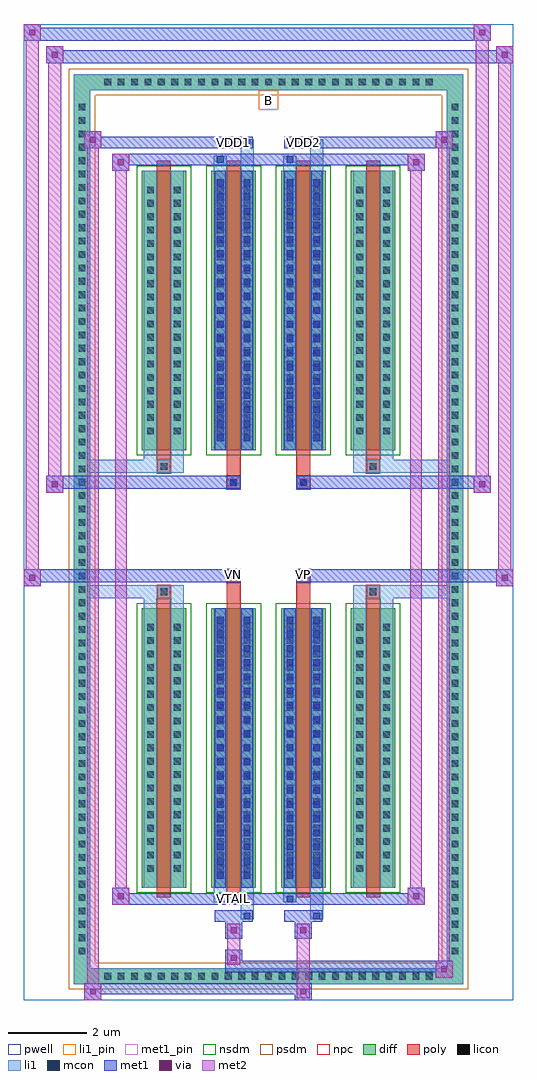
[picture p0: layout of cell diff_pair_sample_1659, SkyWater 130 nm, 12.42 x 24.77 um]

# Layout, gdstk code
import gdstk
lib = gdstk.Library(unit=1e-6, precision=5e-09)
def R(c, l, rs):  # rectangles x0, y0, x1, y1
    for r in rs: c.add(gdstk.rectangle(r[:2], r[2:], *l))
def A(c, l, x, y, w, h, nx, ny, dx, dy):  # array of equal rectangles
    R(c, l, [(x+i*dx, y+j*dy, x+i*dx+w, y+j*dy+h) for i in range(nx) for j in range(ny)])
def P(c, l, *ps):  # polygons
    for p in ps: c.add(gdstk.Polygon(p, *l))
pwell = (64, 44)
diff = (65, 20)
poly = (66, 20)
licon = (66, 44)
li1_pin = (67, 16)
li1 = (67, 20)
mcon = (67, 44)
met1_pin = (68, 16)
met1 = (68, 20)
via = (68, 44)
met2 = (69, 20)
nsdm = (93, 44)
psdm = (94, 20)
npc = (95, 20)

diff_pair_sample_1659 = lib.new_cell('diff_pair_sample_1659')
R(diff_pair_sample_1659, pwell, [(-6.21,-11.95,6.21,12.82), (-3.53,-10.14,-0.01,-0.82), (0.01,-10.14,3.53,-0.82), (-3.53,0.82,-0.01,10.14), (0.01,0.82,3.53,10.14)])
A(diff_pair_sample_1659, diff, -4.285, -11.55, 0.41, 0.41, 25, 2, 0.34, 22.69)
A(diff_pair_sample_1659, diff, -4.94, -10.915, 0.41, 0.41, 1, 64, 0, 0.34)
A(diff_pair_sample_1659, diff, 4.53, -10.915, 0.41, 0.41, 1, 64, 0, 0.34)
A(diff_pair_sample_1659, diff, -3.22, -9.095, 1.13, 7.09, 4, 2, 1.77, 11.1)
R(diff_pair_sample_1659, diff, [(-4.285,-11.55,4.285,-11.14), (-4.94,-10.915,-4.53,10.915), (4.53,-10.915,4.94,10.915), (-4.285,11.14,4.285,11.55)])
P(diff_pair_sample_1659, diff, [(4.94,11.55),(-4.94,11.55),(-4.94,-11.14),(-4.53,-11.14),(-4.53,11.14),(4.53,11.14),(4.53,-11.14),(-4.53,-11.14),(-4.94,-11.14),(-4.94,-11.55),(4.94,-11.55)])
A(diff_pair_sample_1659, poly, -2.83, -9.345, 0.35, 7.59, 4, 2, 1.77, 11.1)
R(diff_pair_sample_1659, poly, [(-2.82,-1.755,-2.49,-1.425), (-2.82,-1.755,-2.49,-1.425), (-1.06,-1.755,-0.71,-1.35), (0.71,-1.755,1.06,-1.35), (2.49,-1.755,2.82,-1.425), (2.49,-1.755,2.82,-1.425), (-1.06,-1.35,-0.71,-1.02), (-1.05,-1.35,-0.72,-1.02), (0.71,-1.35,1.06,-1.02), (0.72,-1.35,1.05,-1.02), (-1.06,1.02,-0.71,1.35), (-1.05,1.02,-0.72,1.35), (0.71,1.02,1.06,1.35), (0.72,1.02,1.05,1.35), (-1.06,1.35,-0.71,1.755), (0.71,1.35,1.06,1.755), (-2.82,1.425,-2.49,1.755), (-2.82,1.425,-2.49,1.755), (2.49,1.425,2.82,1.755), (2.49,1.425,2.82,1.755)])
A(diff_pair_sample_1659, licon, -4.165, -11.43, 0.17, 0.17, 25, 2, 0.34, 22.69)
A(diff_pair_sample_1659, licon, -4.82, -10.795, 0.17, 0.17, 1, 64, 0, 0.34)
A(diff_pair_sample_1659, licon, 4.65, -10.795, 0.17, 0.17, 1, 64, 0, 0.34)
A(diff_pair_sample_1659, licon, -3.08, -8.695, 0.17, 0.17, 1, 19, 0, 0.34)
A(diff_pair_sample_1659, licon, -2.4, -8.695, 0.17, 0.17, 1, 19, 0, 0.34)
A(diff_pair_sample_1659, licon, -1.31, -8.695, 0.17, 0.17, 1, 19, 0, 0.34)
A(diff_pair_sample_1659, licon, -0.63, -8.695, 0.17, 0.17, 1, 19, 0, 0.34)
A(diff_pair_sample_1659, licon, 0.46, -8.695, 0.17, 0.17, 1, 19, 0, 0.34)
A(diff_pair_sample_1659, licon, 1.14, -8.695, 0.17, 0.17, 1, 19, 0, 0.34)
A(diff_pair_sample_1659, licon, 2.23, -8.695, 0.17, 0.17, 1, 19, 0, 0.34)
A(diff_pair_sample_1659, licon, 2.91, -8.695, 0.17, 0.17, 1, 19, 0, 0.34)
A(diff_pair_sample_1659, licon, -3.08, 2.405, 0.17, 0.17, 1, 19, 0, 0.34)
A(diff_pair_sample_1659, licon, -2.4, 2.405, 0.17, 0.17, 1, 19, 0, 0.34)
A(diff_pair_sample_1659, licon, -1.31, 2.405, 0.17, 0.17, 1, 19, 0, 0.34)
A(diff_pair_sample_1659, licon, -0.63, 2.405, 0.17, 0.17, 1, 19, 0, 0.34)
A(diff_pair_sample_1659, licon, 0.46, 2.405, 0.17, 0.17, 1, 19, 0, 0.34)
A(diff_pair_sample_1659, licon, 1.14, 2.405, 0.17, 0.17, 1, 19, 0, 0.34)
A(diff_pair_sample_1659, licon, 2.23, 2.405, 0.17, 0.17, 1, 19, 0, 0.34)
A(diff_pair_sample_1659, licon, 2.91, 2.405, 0.17, 0.17, 1, 19, 0, 0.34)
R(diff_pair_sample_1659, licon, [(-2.74,-1.675,-2.57,-1.505), (2.57,-1.675,2.74,-1.505), (-0.97,-1.27,-0.8,-1.1), (0.8,-1.27,0.97,-1.1), (-0.97,1.1,-0.8,1.27), (0.8,1.1,0.97,1.27), (-2.74,1.505,-2.57,1.675), (2.57,1.505,2.74,1.675)])
R(diff_pair_sample_1659, li1_pin, [(-0.25,10.64,0.25,11.14)])
A(diff_pair_sample_1659, li1, -4.245, -11.51, 0.33, 0.33, 25, 2, 0.34, 22.69)
A(diff_pair_sample_1659, li1, -4.9, -10.875, 0.33, 0.33, 1, 64, 0, 0.34)
A(diff_pair_sample_1659, li1, 4.57, -10.875, 0.33, 0.33, 1, 64, 0, 0.34)
A(diff_pair_sample_1659, li1, -1.31, -8.875, 0.17, 0.17, 1, 19, 0, 0.36)
A(diff_pair_sample_1659, li1, -0.63, -8.875, 0.17, 0.17, 1, 19, 0, 0.36)
A(diff_pair_sample_1659, li1, 0.46, -8.875, 0.17, 0.17, 1, 19, 0, 0.36)
A(diff_pair_sample_1659, li1, 1.14, -8.875, 0.17, 0.17, 1, 19, 0, 0.36)
A(diff_pair_sample_1659, li1, -3.16, -8.775, 0.33, 0.33, 1, 19, 0, 0.34)
A(diff_pair_sample_1659, li1, -2.48, -8.775, 0.33, 0.33, 1, 19, 0, 0.34)
A(diff_pair_sample_1659, li1, -1.39, -8.775, 0.33, 0.33, 1, 19, 0, 0.34)
A(diff_pair_sample_1659, li1, -0.71, -8.775, 0.33, 0.33, 1, 19, 0, 0.34)
A(diff_pair_sample_1659, li1, 0.38, -8.775, 0.33, 0.33, 1, 19, 0, 0.34)
A(diff_pair_sample_1659, li1, 1.06, -8.775, 0.33, 0.33, 1, 19, 0, 0.34)
A(diff_pair_sample_1659, li1, 2.15, -8.775, 0.33, 0.33, 1, 19, 0, 0.34)
A(diff_pair_sample_1659, li1, 2.83, -8.775, 0.33, 0.33, 1, 19, 0, 0.34)
A(diff_pair_sample_1659, li1, -1.31, 2.225, 0.17, 0.17, 1, 19, 0, 0.36)
A(diff_pair_sample_1659, li1, -0.63, 2.225, 0.17, 0.17, 1, 19, 0, 0.36)
A(diff_pair_sample_1659, li1, 0.46, 2.225, 0.17, 0.17, 1, 19, 0, 0.36)
A(diff_pair_sample_1659, li1, 1.14, 2.225, 0.17, 0.17, 1, 19, 0, 0.36)
A(diff_pair_sample_1659, li1, -3.16, 2.325, 0.33, 0.33, 1, 19, 0, 0.34)
A(diff_pair_sample_1659, li1, -2.48, 2.325, 0.33, 0.33, 1, 19, 0, 0.34)
A(diff_pair_sample_1659, li1, -1.39, 2.325, 0.33, 0.33, 1, 19, 0, 0.34)
A(diff_pair_sample_1659, li1, -0.71, 2.325, 0.33, 0.33, 1, 19, 0, 0.34)
A(diff_pair_sample_1659, li1, 0.38, 2.325, 0.33, 0.33, 1, 19, 0, 0.34)
A(diff_pair_sample_1659, li1, 1.06, 2.325, 0.33, 0.33, 1, 19, 0, 0.34)
A(diff_pair_sample_1659, li1, 2.15, 2.325, 0.33, 0.33, 1, 19, 0, 0.34)
A(diff_pair_sample_1659, li1, 2.83, 2.325, 0.33, 0.33, 1, 19, 0, 0.34)
R(diff_pair_sample_1659, li1, [(-4.94,-11.55,-4.53,-11.14), (-4.94,-11.55,-4.53,-11.14), (-4.53,-11.55,4.53,-11.14), (4.53,-11.55,4.94,-11.14), (4.53,-11.55,4.94,-11.14), (-4.94,-11.14,-4.53,11.14), (4.53,-11.14,4.94,11.14), (-0.71,-9.9,-0.38,-9.095), (-0.63,-9.9,-0.46,-9.73), (1.06,-9.9,1.39,-9.095), (1.14,-9.9,1.31,-9.73), (-1.39,-9.47,-1.06,-9.095), (-1.31,-9.47,-1.14,-9.3), (0.38,-9.47,0.71,-9.095), (0.46,-9.47,0.63,-9.3), (-3.16,-9.095,-2.83,-2.005), (-2.48,-9.095,-2.15,-2.005), (-1.39,-9.095,-1.06,-2.005), (-0.71,-9.095,-0.38,-2.005), (0.38,-9.095,0.71,-2.005), (1.06,-9.095,1.39,-2.005), (2.15,-9.095,2.48,-2.005), (2.83,-9.095,3.16,-2.005), (-1.31,-8.875,-1.14,-2.225), (-0.63,-8.875,-0.46,-2.225), (0.46,-8.875,0.63,-2.225), (1.14,-8.875,1.31,-2.225), (-3.16,-2.005,-2.83,-1.425), (-2.48,-2.005,-2.15,-1.425), (2.15,-2.005,2.48,-1.425), (2.83,-2.005,3.16,-1.425), (-4.94,-1.755,-2.82,-1.425), (-3.16,-1.755,-2.82,-1.425), (-2.82,-1.755,-2.49,-1.425), (-2.49,-1.755,-2.15,-1.425), (2.15,-1.755,2.49,-1.425), (2.49,-1.755,2.82,-1.425), (2.49,-1.755,4.94,-1.425), (2.82,-1.755,3.16,-1.425), (-1.05,-1.35,-0.72,-1.02), (0.72,-1.35,1.05,-1.02), (-1.05,1.02,-0.72,1.35), (0.72,1.02,1.05,1.35), (-4.94,1.425,-2.82,1.755), (-3.16,1.425,-2.82,1.755), (-3.16,1.425,-2.83,2.005), (-2.82,1.425,-2.49,1.755), (-2.49,1.425,-2.15,1.755), (-2.48,1.425,-2.15,2.005), (2.15,1.425,2.49,1.755), (2.15,1.425,2.48,2.005), (2.49,1.425,2.82,1.755), (2.49,1.425,4.94,1.755), (2.82,1.425,3.16,1.755), (2.83,1.425,3.16,2.005), (-3.16,2.005,-2.83,9.095), (-2.48,2.005,-2.15,9.095), (-1.39,2.005,-1.06,9.095), (-0.71,2.005,-0.38,9.095), (0.38,2.005,0.71,9.095), (1.06,2.005,1.39,9.095), (2.15,2.005,2.48,9.095), (2.83,2.005,3.16,9.095), (-1.31,2.225,-1.14,8.875), (-0.63,2.225,-0.46,8.875), (0.46,2.225,0.63,8.875), (1.14,2.225,1.31,8.875), (-1.39,9.095,-1.06,9.47), (-0.71,9.095,-0.38,9.9), (0.38,9.095,0.71,9.47), (1.06,9.095,1.39,9.9), (-1.31,9.3,-1.14,9.47), (0.46,9.3,0.63,9.47), (-0.63,9.73,-0.46,9.9), (1.14,9.73,1.31,9.9), (-4.94,11.14,-4.53,11.55), (-4.94,11.14,-4.53,11.55), (-4.53,11.14,4.53,11.55), (4.53,11.14,4.94,11.55), (4.53,11.14,4.94,11.55)])
A(diff_pair_sample_1659, mcon, -1.31, -8.875, 0.17, 0.17, 1, 19, 0, 0.36)
A(diff_pair_sample_1659, mcon, -0.63, -8.875, 0.17, 0.17, 1, 19, 0, 0.36)
A(diff_pair_sample_1659, mcon, 0.46, -8.875, 0.17, 0.17, 1, 19, 0, 0.36)
A(diff_pair_sample_1659, mcon, 1.14, -8.875, 0.17, 0.17, 1, 19, 0, 0.36)
A(diff_pair_sample_1659, mcon, -1.31, 2.225, 0.17, 0.17, 1, 19, 0, 0.36)
A(diff_pair_sample_1659, mcon, -0.63, 2.225, 0.17, 0.17, 1, 19, 0, 0.36)
A(diff_pair_sample_1659, mcon, 0.46, 2.225, 0.17, 0.17, 1, 19, 0, 0.36)
A(diff_pair_sample_1659, mcon, 1.14, 2.225, 0.17, 0.17, 1, 19, 0, 0.36)
R(diff_pair_sample_1659, mcon, [(-0.63,-9.9,-0.46,-9.73), (1.14,-9.9,1.31,-9.73), (-1.31,-9.47,-1.14,-9.3), (0.46,-9.47,0.63,-9.3), (-0.97,-1.27,-0.8,-1.1), (0.8,-1.27,0.97,-1.1), (-0.97,1.1,-0.8,1.27), (0.8,1.1,0.97,1.27), (-1.31,9.3,-1.14,9.47), (0.46,9.3,0.63,9.47), (-0.63,9.73,-0.46,9.9), (1.14,9.73,1.31,9.9)])
R(diff_pair_sample_1659, met1_pin, [(-1.02,-9.51,-0.75,-9.24), (-1.02,-1.29,-0.75,-1.02), (0.75,-1.29,1.02,-1.02), (-1.02,9.69,-0.75,9.96), (0.75,9.69,1.02,9.96)])
A(diff_pair_sample_1659, met1, -1.37, -8.935, 0.29, 0.29, 1, 19, 0, 0.36)
A(diff_pair_sample_1659, met1, -0.69, -8.935, 0.29, 0.29, 1, 19, 0, 0.36)
A(diff_pair_sample_1659, met1, 0.4, -8.935, 0.29, 0.29, 1, 19, 0, 0.36)
A(diff_pair_sample_1659, met1, 1.08, -8.935, 0.29, 0.29, 1, 19, 0, 0.36)
A(diff_pair_sample_1659, met1, -1.37, 2.165, 0.29, 0.29, 1, 19, 0, 0.36)
A(diff_pair_sample_1659, met1, -0.69, 2.165, 0.29, 0.29, 1, 19, 0, 0.36)
A(diff_pair_sample_1659, met1, 0.4, 2.165, 0.29, 0.29, 1, 19, 0, 0.36)
A(diff_pair_sample_1659, met1, 1.08, 2.165, 0.29, 0.29, 1, 19, 0, 0.36)
R(diff_pair_sample_1659, met1, [(-4.67,-11.95,-4.24,-11.52), (0.67,-11.95,1.1,-11.52), (-4.67,-11.81,1.1,-11.52), (4.24,-11.38,4.67,-10.95), (-1.1,-11.24,4.67,-10.95), (-1.1,-11.1,-0.67,-10.67), (-1.1,-10.39,-0.67,-9.96), (0.67,-10.39,1.1,-9.96), (-1.37,-9.96,-0.4,-9.67), (-0.69,-9.96,-0.4,-9.67), (0.4,-9.96,1.37,-9.67), (1.08,-9.96,1.37,-9.67), (-3.96,-9.53,-3.53,-9.1), (-3.96,-9.53,-1.37,-9.24), (-1.37,-9.53,-1.08,-9.24), (-1.37,-9.53,-0.4,-9.24), (-0.4,-9.53,0.4,-9.24), (0.4,-9.53,0.69,-9.24), (0.4,-9.53,1.37,-9.24), (1.37,-9.53,3.96,-9.24), (3.53,-9.53,3.96,-9.1), (-1.37,-9.095,-1.08,-2.005), (-0.69,-9.095,-0.4,-2.005), (0.4,-9.095,0.69,-2.005), (1.08,-9.095,1.37,-2.005), (-6.21,-1.45,-5.78,-1.02), (5.78,-1.45,6.21,-1.02), (-6.21,-1.35,-0.71,-1.02), (-1.06,-1.35,-0.71,-1.02), (0.71,-1.35,1.06,-1.02), (0.71,-1.35,6.21,-1.02), (-1.03,-1.33,-0.74,-1.04), (0.74,-1.33,1.03,-1.04), (-5.64,0.92,-5.21,1.35), (5.21,0.92,5.64,1.35), (-5.64,1.02,-1.06,1.35), (-1.06,1.02,-0.71,1.35), (0.71,1.02,1.06,1.35), (1.06,1.02,5.64,1.35), (-1.03,1.04,-0.74,1.33), (0.74,1.04,1.03,1.33), (-1.37,2.005,-1.08,9.095), (-0.69,2.005,-0.4,9.095), (0.4,2.005,0.69,9.095), (1.08,2.005,1.37,9.095), (-3.96,9.1,-3.53,9.53), (3.53,9.1,3.96,9.53), (-3.96,9.24,-1.37,9.53), (-1.37,9.24,-1.08,9.53), (-1.37,9.24,-0.4,9.53), (-0.4,9.24,0.4,9.53), (0.4,9.24,0.69,9.53), (0.4,9.24,1.37,9.53), (1.37,9.24,3.96,9.53), (-4.67,9.67,-4.24,10.1), (-4.67,9.67,-1.37,9.96), (-1.37,9.67,-0.4,9.96), (-0.69,9.67,-0.4,9.96), (0.4,9.67,1.37,9.96), (1.08,9.67,1.37,9.96), (1.37,9.67,4.67,9.96), (4.24,9.67,4.67,10.1), (-5.64,11.82,-5.21,12.25), (-5.64,11.82,-3.53,12.15), (-3.53,11.82,3.53,12.15), (3.53,11.82,6.21,12.15), (5.78,11.82,6.21,12.25), (-6.21,12.39,-5.78,12.82), (-6.21,12.39,-3.53,12.72), (-3.53,12.39,3.53,12.72), (3.53,12.39,5.64,12.72), (5.21,12.39,5.64,12.82)])
R(diff_pair_sample_1659, via, [(-4.53,-11.81,-4.38,-11.66), (0.81,-11.81,0.96,-11.66), (4.38,-11.24,4.53,-11.09), (-0.96,-10.96,-0.81,-10.81), (-0.96,-10.25,-0.81,-10.1), (0.81,-10.25,0.96,-10.1), (-3.82,-9.39,-3.67,-9.24), (3.67,-9.39,3.82,-9.24), (-6.07,-1.31,-5.92,-1.16), (5.92,-1.31,6.07,-1.16), (-5.5,1.06,-5.35,1.21), (5.35,1.06,5.5,1.21), (-3.82,9.24,-3.67,9.39), (3.67,9.24,3.82,9.39), (-4.53,9.81,-4.38,9.96), (4.38,9.81,4.53,9.96), (-5.5,11.96,-5.35,12.11), (5.92,11.96,6.07,12.11), (-6.07,12.53,-5.92,12.68), (5.35,12.53,5.5,12.68)])
R(diff_pair_sample_1659, met2, [(-4.67,-11.95,-4.24,-11.52), (-4.6,-11.95,-4.31,10.1), (-4.31,-11.95,-4.24,-11.52), (-4.62,-11.9,-4.29,-11.57), (0.72,-11.9,1.05,-11.57), (0.72,-11.57,1.05,-10.34), (4.24,-11.38,4.67,-10.95), (4.31,-11.38,4.6,10.1), (4.6,-11.38,4.67,-10.95), (4.29,-11.33,4.62,-11), (-1.05,-11.05,-0.72,-10.72), (-1.05,-10.72,-0.72,-10.34), (-1.05,-10.34,-0.72,-10.01), (0.72,-10.34,1.05,-10.01), (-3.96,-9.53,-3.53,-9.1), (-3.89,-9.53,-3.6,9.53), (-3.6,-9.53,-3.53,-9.1), (3.53,-9.53,3.96,-9.1), (3.6,-9.53,3.89,9.53), (3.89,-9.53,3.96,-9.1), (-3.91,-9.48,-3.58,-9.15), (3.58,-9.48,3.91,-9.15), (-6.21,-1.45,-5.78,-1.02), (-6.16,-1.45,-5.83,12.82), (-5.83,-1.45,-5.78,-1.02), (5.78,-1.45,6.21,-1.02), (5.83,-1.45,6.16,12.25), (6.16,-1.45,6.21,-1.02), (-6.16,-1.4,-5.83,-1.07), (5.83,-1.4,6.16,-1.07), (-5.64,0.92,-5.21,1.35), (-5.59,0.92,-5.26,12.25), (-5.26,0.92,-5.21,1.35), (5.21,0.92,5.64,1.35), (5.26,0.92,5.59,12.82), (5.59,0.92,5.64,1.35), (-5.59,0.97,-5.26,1.3), (5.26,0.97,5.59,1.3), (-3.96,9.1,-3.53,9.53), (-3.6,9.1,-3.53,9.53), (3.53,9.1,3.96,9.53), (3.89,9.1,3.96,9.53), (-3.91,9.15,-3.58,9.48), (3.58,9.15,3.91,9.48), (-4.67,9.67,-4.24,10.1), (-4.31,9.67,-4.24,10.1), (4.24,9.67,4.67,10.1), (4.6,9.67,4.67,10.1), (-4.62,9.72,-4.29,10.05), (4.29,9.72,4.62,10.05), (-5.64,11.82,-5.21,12.25), (-5.26,11.82,-5.21,12.25), (5.78,11.82,6.21,12.25), (6.16,11.82,6.21,12.25), (-5.59,11.87,-5.26,12.2), (5.83,11.87,6.16,12.2), (-6.21,12.39,-5.78,12.82), (-5.83,12.39,-5.78,12.82), (5.21,12.39,5.64,12.82), (5.59,12.39,5.64,12.82), (-6.16,12.44,-5.83,12.77), (5.26,12.44,5.59,12.77)])
A(diff_pair_sample_1659, nsdm, -3.35, -9.225, 1.39, 7.35, 4, 2, 1.77, 11.1)
P(diff_pair_sample_1659, psdm, [(5.07,11.68),(-5.07,11.68),(-5.07,-11.01),(-4.4,-11.01),(-4.4,11.01),(4.4,11.01),(4.4,-11.01),(-4.4,-11.01),(-5.07,-11.01),(-5.07,-11.68),(5.07,-11.68)])
R(diff_pair_sample_1659, npc, [(-2.84,-1.775,-2.47,-1.405), (2.47,-1.775,2.84,-1.405), (-1.07,-1.37,-0.7,-1), (0.7,-1.37,1.07,-1), (-1.07,1,-0.7,1.37), (0.7,1,1.07,1.37), (-2.84,1.405,-2.47,1.775), (2.47,1.405,2.84,1.775)])
diff_pair_sample_1659.add(gdstk.Label('VTAIL', (-0.885,-9.375), layer=68, texttype=5))
diff_pair_sample_1659.add(gdstk.Label('VN', (-0.885,-1.155), layer=68, texttype=5))
diff_pair_sample_1659.add(gdstk.Label('VP', (0.885,-1.155), layer=68, texttype=5))
diff_pair_sample_1659.add(gdstk.Label('B', (0,10.89), layer=67, texttype=5))
diff_pair_sample_1659.add(gdstk.Label('VDD2', (0.885,9.825), layer=68, texttype=5))
diff_pair_sample_1659.add(gdstk.Label('VDD1', (-0.885,9.825), layer=68, texttype=5))

lib.write_gds('diff_pair_sample_1659.gds')
